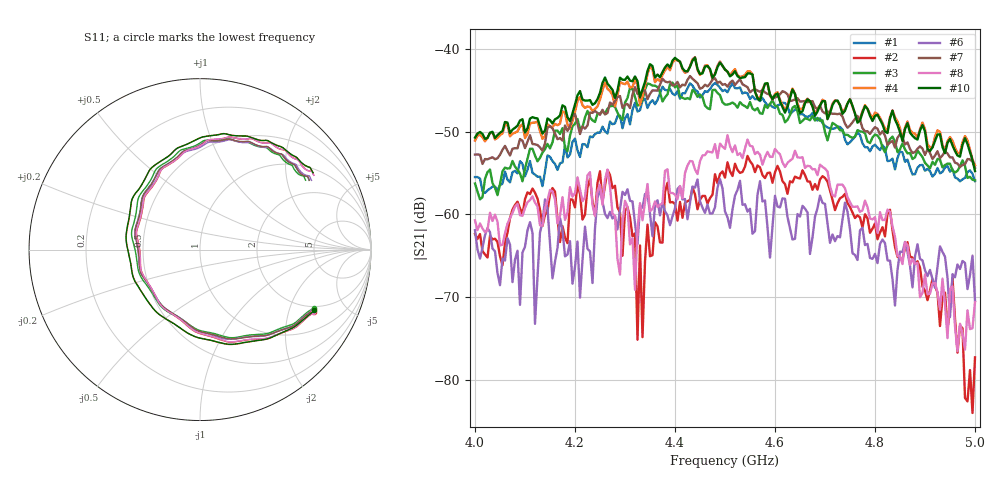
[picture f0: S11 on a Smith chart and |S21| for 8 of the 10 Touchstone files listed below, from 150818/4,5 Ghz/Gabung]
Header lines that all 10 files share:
# Hz S RI R 50
! CMT, C1220, 16058040, 17.2.0/1
! Data: Format (Calibration Info)
! Freq  S11: Re/Im (F2)  S21: Re/Im (F2)  S12: Re/Im (F2)  S22: Re/Im (F2)
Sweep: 4 GHz to 5 GHz
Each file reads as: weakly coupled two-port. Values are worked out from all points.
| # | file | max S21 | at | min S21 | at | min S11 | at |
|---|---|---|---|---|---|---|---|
| 1 | Sudut_340_Titik_3.s2p | -44.10 dB | 4.48 GHz | -57.4 dB | 4.02 GHz | -8.9 dB | 4.36 GHz |
| 2 | Sudut_340_Titik_4.s2p | -52.92 dB | 4.545 GHz | -84.0 dB | 4.995 GHz | -9.1 dB | 4.36 GHz |
| 3 | Sudut_340_Titik_7.s2p | -44.05 dB | 4.395 GHz | -58.2 dB | 4.01 GHz | -8.5 dB | 4.315 GHz |
| 4 | Sudut_350_Titik_1.s2p | -40.98 dB | 4.44 GHz | -54.1 dB | 5 GHz | -7.7 dB | 4.36 GHz |
| 5 | Sudut_350_Titik_2.s2p | -38.20 dB | 4.43 GHz | -49.2 dB | 4.005 GHz | -10.6 dB | 4.315 GHz |
| 6 | Sudut_350_Titik_6.s2p | -55.72 dB | 4.49 GHz | -73.2 dB | 4.12 GHz | -8.8 dB | 4.36 GHz |
| 7 | Sudut_360_Titik_3.s2p | -43.26 dB | 4.43 GHz | -54.4 dB | 5 GHz | -8.9 dB | 4.36 GHz |
| 8 | Sudut_360_Titik_4.s2p | -50.41 dB | 4.505 GHz | -76.5 dB | 4.965 GHz | -9.1 dB | 4.36 GHz |
| 9 | Sudut_360_Titik_8.s2p | -38.18 dB | 4.43 GHz | -49.2 dB | 4.005 GHz | -10.7 dB | 4.315 GHz |
| 10 | Sudut_360_Titik_9.s2p | -41.01 dB | 4.44 GHz | -54.7 dB | 5 GHz | -7.7 dB | 4.36 GHz |
